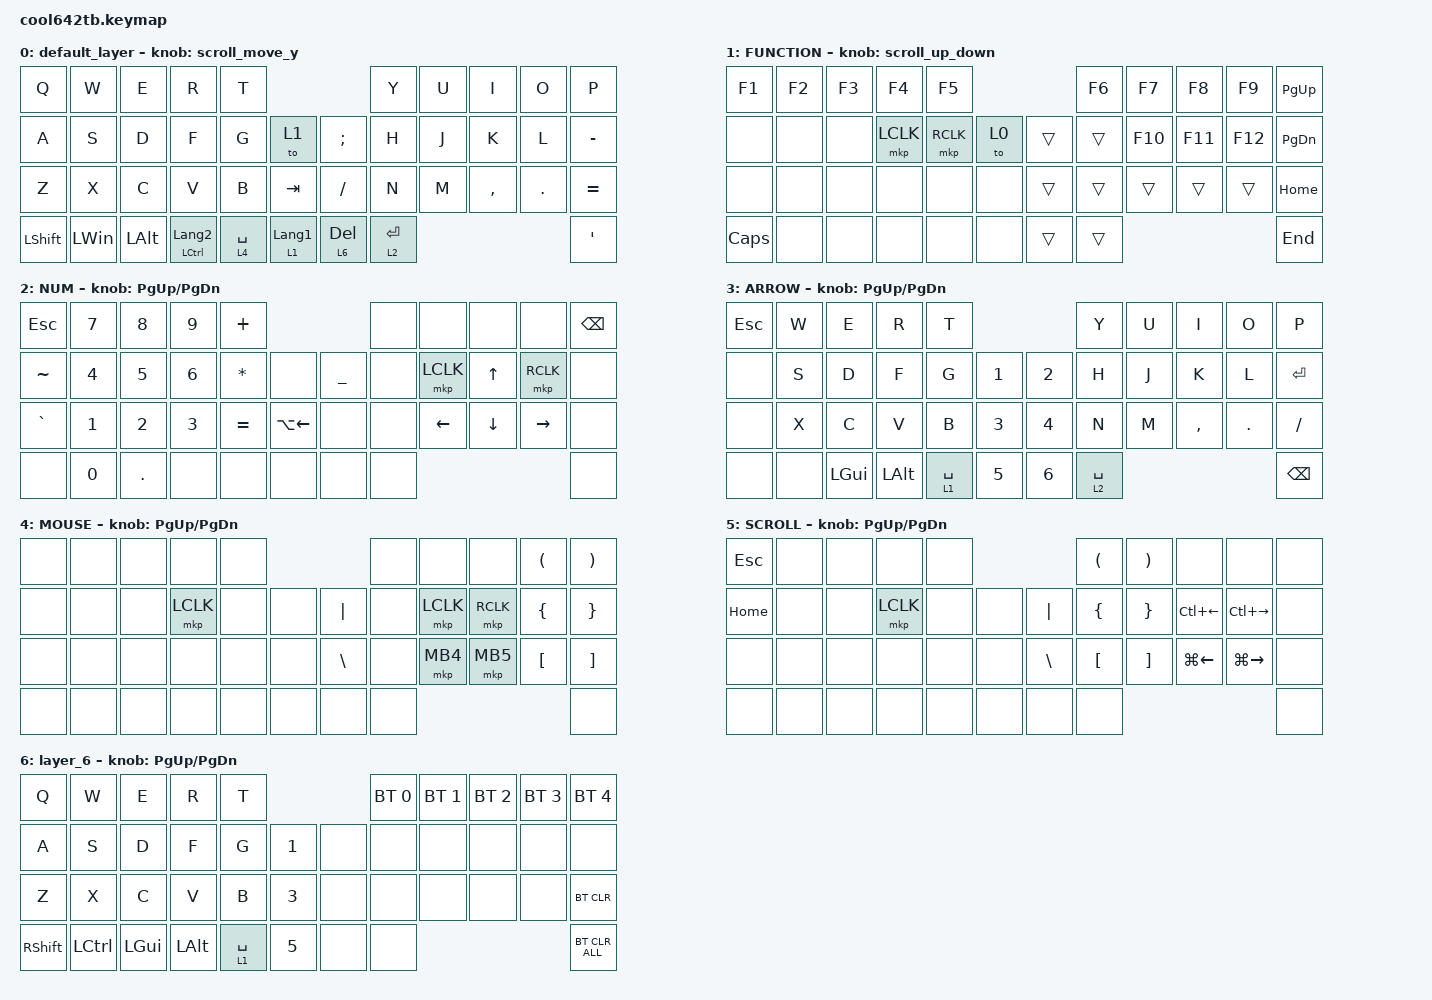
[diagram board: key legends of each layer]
#include <behaviors.dtsi>
#include <dt-bindings/zmk/bt.h>
#include <dt-bindings/zmk/keys.h>
#include <dt-bindings/zmk/pointing.h>

#define ZMK_MOUSE_DEFAULT_SCRL_VAL 100
#define MOUSE 4
#define SCROLL 5
#define NUM 6

&mt {
    flavor = "balanced";
    quick-tap-ms = <0>;
};

/ {
    combos {
        compatible = "zmk,combos";

        comb1 {
            bindings = <&kp TAB>;
            key-positions = <11 10>;
        };

        comb2 {
            bindings = <&kp LS(ESCAPE)>;
            key-positions = <0 1>;
        };

        comb3 {
            bindings = <&kp CAPSLOCK>;
            key-positions = <22 23>;
        };

        comb4 {
            bindings = <&kp BACKSPACE>;
            key-positions = <9 8>;
        };

        comb5 {
            bindings = <&bt BT_CLR_ALL>;
            key-positions = <9 8>;
            timeout-ms = <0>;
            layers = <2>;
        };

        MS_BTN1_ {
            bindings = <&mkp MB1>;
            key-positions = <38 39>;
        };

        MS_BTN2_ {
            bindings = <&mkp MB2>;
            key-positions = <38 37>;
        };
    };

    macros {
        to_layer_0: to_layer_0 {
            compatible = "zmk,behavior-macro-one-param";
            #binding-cells = <1>;
            bindings = <&to 0 &macro_param_1to1 &kp MACRO_PLACEHOLDER>;
            label = "TO_LAYER_0";
        };
    };

    behaviors {
        lt_to_layer_0: lt_to_layer_0 {
            compatible = "zmk,behavior-hold-tap";
            label = "LAYER_TAP_TO_0";
            bindings = <&mo>, <&to_layer_0>;

            #binding-cells = <2>;
            tapping-term-ms = <200>;
        };

        scroll_up_down: behavior_sensor_rotate_mouse_wheel_up_down {
            compatible = "zmk,behavior-sensor-rotate";
            #sensor-binding-cells = <0>;
            bindings = <&msc SCRL_UP>, <&msc SCRL_DOWN>;

            tap-ms = <20>;
        };
    };

    // エンコーダー：キー

    rot_kp: sensor_rotate_kp {
        compatible = "zmk,behavior-sensor-rotate-var";
        #sensor-binding-cells = <2>;
        bindings = <&kp>, <&kp>;
    };

    // エンコーダー：マウススクロール 

    rot_msc: sensor_rotate_msc {
        compatible = "zmk,behavior-sensor-rotate-var";
        #sensor-binding-cells = <2>;
        tap-ms = <20>;
        bindings = <&msc>, <&msc>;
    };

    // エンコーダー：マウススクロール(MOVE_Y)

    scroll_move_y: sensor_rotate_msc_for_move_y {
        compatible = "zmk,behavior-sensor-rotate";
        #sensor-binding-cells = <0>;
        bindings = <&msc MOVE_Y(20)>, <&msc MOVE_Y(-20)>;

        // tap-ms下限メモ Yの値で可変: Y(15) <81>, Y(20) <65>, Y(25) <49>

        tap-ms = <65>;
    };

    // エンコーダー：マウススクロール(MOVE_X)

    scroll_move_x: sensor_rotate_msc_for_move_x {
        compatible = "zmk,behavior-sensor-rotate";
        #sensor-binding-cells = <0>;
        bindings = <&msc MOVE_X(20)>, <&msc MOVE_X(-20)>;

        // tap-ms下限メモ Xの値で可変: X(15) <81>, X(20) <65>, X(25) <49>

        tap-ms = <65>;
    };

    keymap {
        compatible = "zmk,keymap";

        default_layer {
            bindings = <
&kp Q           &kp W         &kp E         &kp R                        &kp T                                                                         &kp Y                   &kp U  &kp I      &kp O       &kp P
&kp A           &kp S         &kp D         &kp F                        &kp G                   &to 1                        &kp SEMICOLON            &kp H                   &kp J  &kp K      &kp L       &kp MINUS
&kp Z           &kp X         &kp C         &kp V                        &kp B                   &kp TAB                      &kp SLASH                &kp N                   &kp M  &kp COMMA  &kp PERIOD  &kp EQUAL
&kp LEFT_SHIFT  &kp LEFT_WIN  &kp LEFT_ALT  &mt LEFT_CONTROL LANGUAGE_2  &lt_to_layer_0 4 SPACE  &lt_to_layer_0 1 LANGUAGE_1  &lt_to_layer_0 6 DELETE  &lt_to_layer_0 2 ENTER                                &kp SQT
            >;

            sensor-bindings = <&scroll_move_y>;
        };

        FUNCTION {
            bindings = <
&kp F1    &kp F2  &kp F3  &kp F4     &kp F5                    &kp F6  &kp F7   &kp F8   &kp F9   &kp PAGE_UP
&none     &none   &none   &mkp LCLK  &mkp RCLK  &to 0  &trans  &trans  &kp F10  &kp F11  &kp F12  &kp PAGE_DOWN
&none     &none   &none   &none      &none      &none  &trans  &trans  &trans   &trans   &trans   &kp HOME
&kp CAPS  &none   &none   &none      &none      &none  &trans  &trans                             &kp END
            >;

            sensor-bindings = <&scroll_up_down>;
        };

        NUM {
            bindings = <
&kp ESC    &kp NUMBER_7  &kp NUMBER_8  &kp NUMBER_9  &kp PLUS                                    &none  &none      &none         &none      &kp BACKSPACE
&kp TILDE  &kp NUMBER_4  &kp NUMBER_5  &kp NUMBER_6  &kp ASTERISK  &none         &kp UNDERSCORE  &none  &mkp LCLK  &kp UP_ARROW  &mkp RCLK  &none
&kp GRAVE  &kp NUMBER_1  &kp NUMBER_2  &kp NUMBER_3  &kp EQUAL     &kp LA(LEFT)  &none           &none  &kp LEFT   &kp DOWN      &kp RIGHT  &none
&none      &kp NUMBER_0  &kp PERIOD    &none         &none         &none         &none           &none                                      &none
            >;

            sensor-bindings = <&inc_dec_kp PG_UP PAGE_DOWN>;
        };

        ARROW {
            bindings = <
&kp ESCAPE  &kp W  &kp E     &kp R     &kp T                        &kp Y        &kp U  &kp I      &kp O       &kp P
&none       &kp S  &kp D     &kp F     &kp G        &kp N1  &kp N2  &kp H        &kp J  &kp K      &kp L       &kp ENTER
&none       &kp X  &kp C     &kp V     &kp B        &kp N3  &kp N4  &kp N        &kp M  &kp COMMA  &kp PERIOD  &kp SLASH
&none       &none  &kp LGUI  &kp LALT  &lt 1 SPACE  &kp N5  &kp N6  &lt 2 SPACE                                &kp BSPC
            >;

            sensor-bindings = <&inc_dec_kp PG_UP PAGE_DOWN>;
        };

        MOUSE {
            bindings = <
&none  &none  &none  &none      &none                        &none  &none      &none      &kp LEFT_PARENTHESIS  &kp RIGHT_PARENTHESIS
&none  &none  &none  &mkp LCLK  &none  &none  &kp PIPE       &none  &mkp LCLK  &mkp RCLK  &kp LEFT_BRACE        &kp RIGHT_BRACE
&none  &none  &none  &none      &none  &none  &kp BACKSLASH  &none  &mkp MB4   &mkp MB5   &kp LEFT_BRACKET      &kp RIGHT_BRACKET
&none  &none  &none  &none      &none  &none  &none          &none                                              &none
            >;

            sensor-bindings = <&inc_dec_kp PG_UP PAGE_DOWN>;
        };

        SCROLL {
            bindings = <
&kp ESC   &none  &none  &none      &none                        &kp LEFT_PARENTHESIS  &kp RIGHT_PARENTHESIS  &none               &none          &none
&kp HOME  &none  &none  &mkp LCLK  &none  &none  &kp PIPE       &kp LEFT_BRACE        &kp RIGHT_BRACE        &kp LC(LEFT_ARROW)  &kp LC(RIGHT)  &none
&none     &none  &none  &none      &none  &none  &kp BACKSLASH  &kp LEFT_BRACKET      &kp RIGHT_BRACKET      &kp LG(LEFT)        &kp LG(RIGHT)  &none
&none     &none  &none  &none      &none  &none  &none          &none                                                                           &none
            >;

            sensor-bindings = <&inc_dec_kp PG_UP PAGE_DOWN>;
        };

        layer_6 {
            bindings = <
&kp Q       &kp W      &kp E     &kp R     &kp T                       &bt BT_SEL 0  &bt BT_SEL 1  &bt BT_SEL 2  &bt BT_SEL 3  &bt BT_SEL 4
&kp A       &kp S      &kp D     &kp F     &kp G        &kp N1  &none  &none         &none         &none         &none         &none
&kp Z       &kp X      &kp C     &kp V     &kp B        &kp N3  &none  &none         &none         &none         &none         &bt BT_CLR
&kp RSHIFT  &kp LCTRL  &kp LGUI  &kp LALT  &lt 1 SPACE  &kp N5  &none  &none                                                   &bt BT_CLR_ALL
            >;

            sensor-bindings = <&inc_dec_kp PG_UP PAGE_DOWN>;
        };
    };
};
